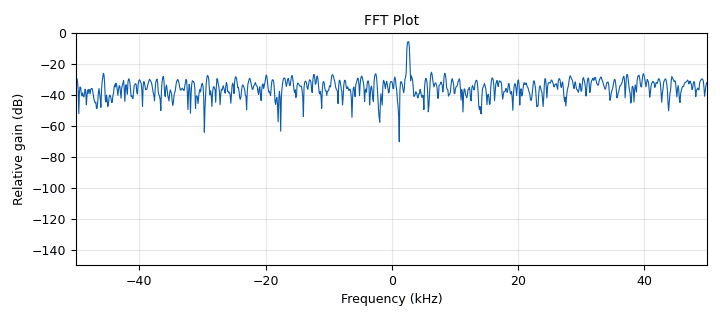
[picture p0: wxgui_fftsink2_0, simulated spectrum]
<?xml version='1.0' encoding='utf-8'?>
<flow_graph>
<block>
<key>blocks_add_xx</key>
<param><key>id</key><value>blocks_add_xx_0</value></param>
<param><key>type</key><value>complex</value></param>
</block>
<block>
<key>variable</key>
<param><key>id</key><value>fft_size</value></param>
<param><key>value</key><value>1000</value></param>
</block>
<block>
<key>variable</key>
<param><key>id</key><value>samp_rate</value></param>
<param><key>value</key><value>100000</value></param>
</block>
<block>
<key>import</key>
<param><key>id</key><value>imp0</value></param>
<param><key>import</key><value>import math</value></param>
</block>
<block>
<key>analog_noise_source_x</key>
<param><key>id</key><value>analog_noise_source_x_0</value></param>
<param><key>type</key><value>complex</value></param>
<param><key>noise_type</key><value>analog.GR_GAUSSIAN</value></param>
<param><key>amp</key><value>math.pow(10.0,snr/20.0)/math.sqrt(2.0)</value></param>
<param><key>seed</key><value>42</value></param>
</block>
<block>
<key>variable_slider</key>
<param><key>id</key><value>freq_offset</value></param>
<param><key>label</key><value>Freq_offset</value></param>
<param><key>value</key><value>0</value></param>
<param><key>min</key><value>-5*samp_rate/fft_size</value></param>
<param><key>max</key><value>5*samp_rate/fft_size</value></param>
<param><key>num_steps</key><value>200</value></param>
<param><key>style</key><value>wx.SL_HORIZONTAL</value></param>
<param><key>converver</key><value>float_converter</value></param>
</block>
<block>
<key>analog_sig_source_x</key>
<param><key>id</key><value>analog_sig_source_x_0</value></param>
<param><key>type</key><value>complex</value></param>
<param><key>samp_rate</key><value>samp_rate</value></param>
<param><key>waveform</key><value>analog.GR_COS_WAVE</value></param>
<param><key>freq</key><value>float(samp_rate)/float(fft_size)*26+freq_offset</value></param>
<param><key>amp</key><value>1.0</value></param>
<param><key>offset</key><value>0</value></param>
</block>
<block>
<key>blocks_throttle</key>
<param><key>id</key><value>blocks_throttle_0</value></param>
<param><key>type</key><value>complex</value></param>
<param><key>samples_per_second</key><value>samp_rate</value></param>
</block>
<block>
<key>variable_slider</key>
<param><key>id</key><value>snr</value></param>
<param><key>label</key><value>"Noise Level"</value></param>
<param><key>value</key><value>0</value></param>
<param><key>min</key><value>-100</value></param>
<param><key>max</key><value>100</value></param>
<param><key>num_steps</key><value>200</value></param>
<param><key>style</key><value>wx.SL_HORIZONTAL</value></param>
<param><key>converver</key><value>float_converter</value></param>
</block>
<block>
<key>blocks_rms_xx</key>
<param><key>id</key><value>blocks_rms_xx_0</value></param>
<param><key>type</key><value>complex</value></param>
<param><key>alpha</key><value>.0001</value></param>
</block>
<block>
<key>blocks_rms_xx</key>
<param><key>id</key><value>blocks_rms_xx_0_0</value></param>
<param><key>type</key><value>complex</value></param>
<param><key>alpha</key><value>.0001</value></param>
</block>
<block>
<key>blocks_divide_xx</key>
<param><key>id</key><value>blocks_divide_xx_0</value></param>
<param><key>type</key><value>float</value></param>
</block>
<block>
<key>blocks_nlog10_ff</key>
<param><key>id</key><value>blocks_nlog10_ff_0</value></param>
<param><key>n</key><value>20</value></param>
<param><key>k</key><value>0</value></param>
</block>
<block>
<key>wxgui_numbersink2</key>
<param><key>id</key><value>snr_disp</value></param>
<param><key>type</key><value>float</value></param>
<param><key>title</key><value>SNR</value></param>
<param><key>units</key><value>dB</value></param>
<param><key>samp_rate</key><value>samp_rate</value></param>
<param><key>min_value</key><value>-100</value></param>
<param><key>max_value</key><value>100</value></param>
<param><key>factor</key><value>1.0</value></param>
<param><key>decimal_places</key><value>5</value></param>
<param><key>ref_level</key><value>0</value></param>
<param><key>number_rate</key><value>15</value></param>
<param><key>peak_hold</key><value>False</value></param>
<param><key>average</key><value>False</value></param>
<param><key>avg_alpha</key><value>0</value></param>
<param><key>show_gauge</key><value>False</value></param>
</block>
<block>
<key>wxgui_numbersink2</key>
<param><key>id</key><value>wxgui_numbersink2_0</value></param>
<param><key>type</key><value>float</value></param>
<param><key>title</key><value>Noise Amplitude</value></param>
<param><key>units</key><value></value></param>
<param><key>samp_rate</key><value>samp_rate</value></param>
<param><key>min_value</key><value>-100</value></param>
<param><key>max_value</key><value>100</value></param>
<param><key>factor</key><value>1.0</value></param>
<param><key>decimal_places</key><value>5</value></param>
<param><key>ref_level</key><value>0</value></param>
<param><key>number_rate</key><value>15</value></param>
<param><key>peak_hold</key><value>False</value></param>
<param><key>average</key><value>False</value></param>
<param><key>avg_alpha</key><value>0</value></param>
<param><key>show_gauge</key><value>False</value></param>
</block>
<block>
<key>wxgui_numbersink2</key>
<param><key>id</key><value>wxgui_numbersink2_0_0</value></param>
<param><key>type</key><value>float</value></param>
<param><key>title</key><value>Signal Amplitude</value></param>
<param><key>units</key><value></value></param>
<param><key>samp_rate</key><value>samp_rate</value></param>
<param><key>min_value</key><value>-100</value></param>
<param><key>max_value</key><value>100</value></param>
<param><key>factor</key><value>1.0</value></param>
<param><key>decimal_places</key><value>5</value></param>
<param><key>ref_level</key><value>0</value></param>
<param><key>number_rate</key><value>15</value></param>
<param><key>peak_hold</key><value>False</value></param>
<param><key>average</key><value>False</value></param>
<param><key>avg_alpha</key><value>0</value></param>
<param><key>show_gauge</key><value>False</value></param>
</block>
<block>
<key>wxgui_scopesink2</key>
<param><key>id</key><value>wxgui_scopesink2_0</value></param>
<param><key>_enabled</key><value>False</value></param>
<param><key>type</key><value>complex</value></param>
<param><key>title</key><value>Scope Plot</value></param>
<param><key>samp_rate</key><value>samp_rate</value></param>
<param><key>v_scale</key><value>0</value></param>
<param><key>v_offset</key><value>0</value></param>
<param><key>t_scale</key><value>0</value></param>
<param><key>ac_couple</key><value>False</value></param>
<param><key>xy_mode</key><value>False</value></param>
<param><key>num_inputs</key><value>1</value></param>
<param><key>trig_mode</key><value>wxgui.TRIG_MODE_AUTO</value></param>
<param><key>y_axis_label</key><value>Counts</value></param>
</block>
<block>
<key>wxgui_fftsink2</key>
<param><key>id</key><value>wxgui_fftsink2_0</value></param>
<param><key>type</key><value>complex</value></param>
<param><key>title</key><value>FFT Plot</value></param>
<param><key>samp_rate</key><value>samp_rate</value></param>
<param><key>baseband_freq</key><value>0</value></param>
<param><key>y_per_div</key><value>10</value></param>
<param><key>y_divs</key><value>15</value></param>
<param><key>ref_level</key><value>0</value></param>
<param><key>ref_scale</key><value>2.0</value></param>
<param><key>fft_size</key><value>fft_size</value></param>
<param><key>fft_rate</key><value>20</value></param>
<param><key>peak_hold</key><value>False</value></param>
<param><key>average</key><value>False</value></param>
<param><key>avg_alpha</key><value>0</value></param>
<param><key>win</key><value>window.flattop</value></param>
<param><key>freqvar</key><value>None</value></param>
</block>
<block>
<key>options</key>
<param><key>id</key><value>demo_spec_an</value></param>
<param><key>author</key><value>mettus</value></param>
<param><key>generate_options</key><value>wx_gui</value></param>
<param><key>category</key><value>Custom</value></param>
</block>
<connection><source_block_id>analog_sig_source_x_0</source_block_id><sink_block_id>blocks_add_xx_0</sink_block_id><source_key>0</source_key><sink_key>1</sink_key></connection>
<connection><source_block_id>analog_noise_source_x_0</source_block_id><sink_block_id>blocks_add_xx_0</sink_block_id><source_key>0</source_key><sink_key>0</sink_key></connection>
<connection><source_block_id>blocks_add_xx_0</source_block_id><sink_block_id>blocks_throttle_0</sink_block_id><source_key>0</source_key><sink_key>0</sink_key></connection>
<connection><source_block_id>blocks_throttle_0</source_block_id><sink_block_id>wxgui_fftsink2_0</sink_block_id><source_key>0</source_key><sink_key>0</sink_key></connection>
<connection><source_block_id>analog_noise_source_x_0</source_block_id><sink_block_id>blocks_rms_xx_0</sink_block_id><source_key>0</source_key><sink_key>0</sink_key></connection>
<connection><source_block_id>blocks_rms_xx_0</source_block_id><sink_block_id>wxgui_numbersink2_0</sink_block_id><source_key>0</source_key><sink_key>0</sink_key></connection>
<connection><source_block_id>analog_sig_source_x_0</source_block_id><sink_block_id>blocks_rms_xx_0_0</sink_block_id><source_key>0</source_key><sink_key>0</sink_key></connection>
<connection><source_block_id>blocks_rms_xx_0_0</source_block_id><sink_block_id>wxgui_numbersink2_0_0</sink_block_id><source_key>0</source_key><sink_key>0</sink_key></connection>
<connection><source_block_id>blocks_nlog10_ff_0</source_block_id><sink_block_id>snr_disp</sink_block_id><source_key>0</source_key><sink_key>0</sink_key></connection>
<connection><source_block_id>blocks_divide_xx_0</source_block_id><sink_block_id>blocks_nlog10_ff_0</sink_block_id><source_key>0</source_key><sink_key>0</sink_key></connection>
<connection><source_block_id>blocks_rms_xx_0</source_block_id><sink_block_id>blocks_divide_xx_0</sink_block_id><source_key>0</source_key><sink_key>1</sink_key></connection>
<connection><source_block_id>blocks_rms_xx_0_0</source_block_id><sink_block_id>blocks_divide_xx_0</sink_block_id><source_key>0</source_key><sink_key>0</sink_key></connection>
<connection><source_block_id>blocks_throttle_0</source_block_id><sink_block_id>wxgui_scopesink2_0</sink_block_id><source_key>0</source_key><sink_key>0</sink_key></connection>
</flow_graph>
